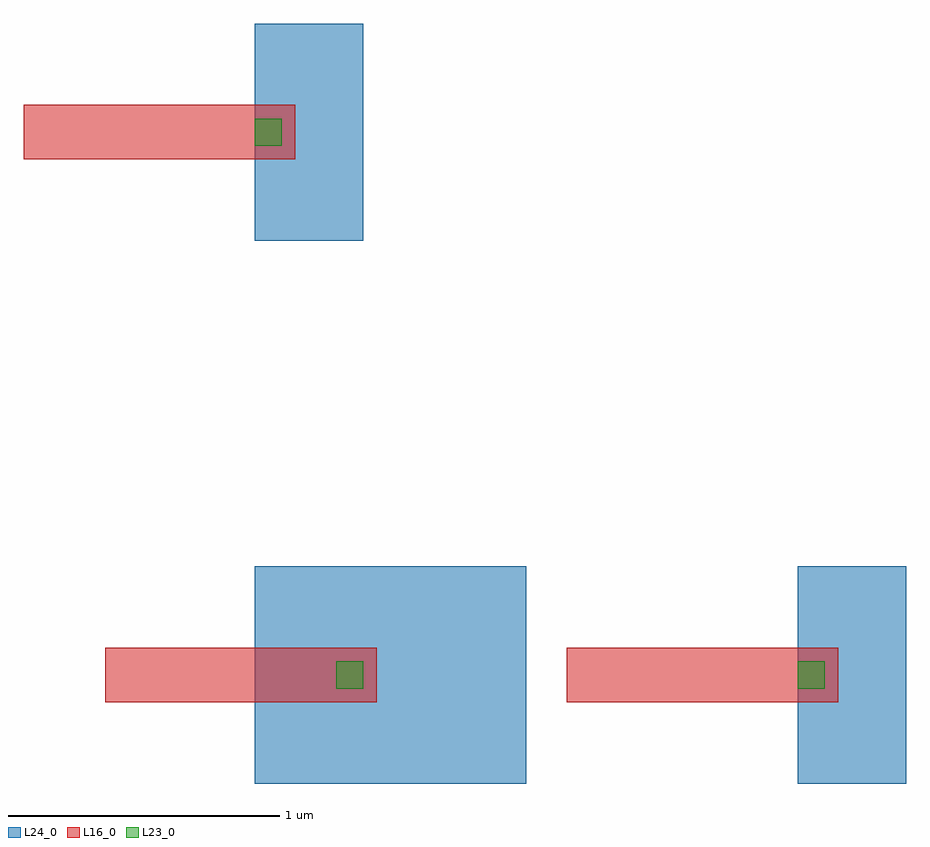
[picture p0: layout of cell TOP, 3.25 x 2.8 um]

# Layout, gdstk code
from math import pi, radians
import gdstk
lib = gdstk.Library(unit=1e-6, precision=1e-09)
def R(c, l, rs):  # rectangles x0, y0, x1, y1
    for r in rs: c.add(gdstk.rectangle(r[:2], r[2:], *l))
L16_0 = (16, 0)
L23_0 = (23, 0)
L24_0 = (24, 0)

c_a = lib.new_cell('A')
R(c_a, L16_0, [(0,0,0.2,1)])
R(c_a, L23_0, [(0.05,0.05,0.15,0.15)])

pd_2 = lib.new_cell('PD$2')
R(pd_2, L24_0, [(0,0,1,0.8)])
pd_2.add(gdstk.Reference(c_a, (0.45,0.3), rotation=pi/2))

pd_1 = lib.new_cell('PD$1')
R(pd_1, L24_0, [(0,0,0.4,0.8)])
pd_1.add(gdstk.Reference(c_a, (0.15,0.3), rotation=pi/2))

top = lib.new_cell('TOP')
top.add(gdstk.Reference(pd_2, (0,0)))
top.add(gdstk.Reference(pd_1, (0,2)))
top.add(gdstk.Reference(pd_1, (2,0)))

lib.write_gds('TOP.gds')
